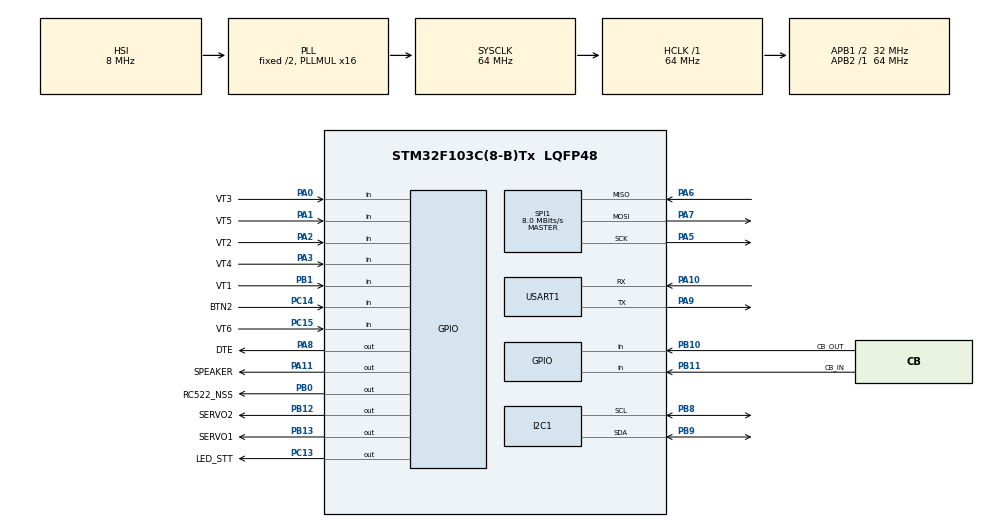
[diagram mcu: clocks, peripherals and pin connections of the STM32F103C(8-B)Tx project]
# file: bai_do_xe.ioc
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Mcu.Family=STM32F1
Mcu.Name=STM32F103C(8-B)Tx
Mcu.Package=LQFP48
NVIC.PriorityGroup=NVIC_PRIORITYGROUP_4
NVIC.USART1_IRQn=true\:0\:0\:false\:false\:true\:true\:true\:true
PA0-WKUP.GPIO_Label=VT3
PA0-WKUP.Signal=GPIO_Input
PA1.GPIO_Label=VT5
PA1.Signal=GPIO_Input
PA10.Mode=Asynchronous
PA10.Signal=USART1_RX
PA11.GPIO_Label=SPEAKER
PA11.Signal=GPIO_Output
PA13.Mode=Serial_Wire
PA13.Signal=SYS_JTMS-SWDIO
PA14.Mode=Serial_Wire
PA14.Signal=SYS_JTCK-SWCLK
PA2.GPIO_Label=VT2
PA2.Signal=GPIO_Input
PA3.GPIO_Label=VT4
PA3.Signal=GPIO_Input
PA5.Mode=Full_Duplex_Master
PA5.Signal=SPI1_SCK
PA6.Mode=Full_Duplex_Master
PA6.Signal=SPI1_MISO
PA7.Mode=Full_Duplex_Master
PA7.Signal=SPI1_MOSI
PA8.GPIO_Label=DTE
PA8.Signal=GPIO_Output
PA9.Mode=Asynchronous
PA9.Signal=USART1_TX
PB0.GPIO_Label=RC522_NSS
PB0.Signal=GPIO_Output
PB1.GPIO_Label=VT1
PB1.Signal=GPIO_Input
PB10.GPIO_Label=CB_OUT
PB10.Signal=GPIO_Input
PB11.GPIO_Label=CB_IN
PB11.Signal=GPIO_Input
PB12.GPIO_Label=SERVO2
PB12.GPIO_Speed=GPIO_SPEED_FREQ_HIGH
PB12.Signal=GPIO_Output
PB13.GPIO_Label=SERVO1
PB13.GPIO_Speed=GPIO_SPEED_FREQ_HIGH
PB13.Signal=GPIO_Output
PB8.Mode=I2C
PB8.Signal=I2C1_SCL
PB9.Mode=I2C
PB9.Signal=I2C1_SDA
PC13-TAMPER-RTC.GPIO_Label=LED_STT
PC13-TAMPER-RTC.Signal=GPIO_Output
PC14-OSC32_IN.GPIO_Label=BTN2
PC14-OSC32_IN.Signal=GPIO_Input
PC15-OSC32_OUT.GPIO_Label=VT6
PC15-OSC32_OUT.Signal=GPIO_Input
ProjectManager.HeapSize=0x200
ProjectManager.StackSize=0x400
ProjectManager.TargetToolchain=STM32CubeIDE
RCC.AHBFreq_Value=64000000
RCC.APB1CLKDivider=RCC_HCLK_DIV2
RCC.APB1Freq_Value=32000000
RCC.APB1TimFreq_Value=64000000
RCC.APB2Freq_Value=64000000
RCC.APB2TimFreq_Value=64000000
RCC.HCLKFreq_Value=64000000
RCC.PLLMUL=RCC_PLL_MUL16
RCC.SYSCLKFreq_VALUE=64000000
RCC.SYSCLKSource=RCC_SYSCLKSOURCE_PLLCLK
RCC.USBFreq_Value=64000000
SPI1.BaudRatePrescaler=SPI_BAUDRATEPRESCALER_8
SPI1.CalculateBaudRate=8.0 MBits/s
SPI1.Direction=SPI_DIRECTION_2LINES
SPI1.Mode=SPI_MODE_MASTER
SPI1.VirtualType=VM_MASTER
TIM2.Period=0xffff-1
TIM2.Prescaler=64-1
USART1.VirtualMode=VM_ASYNC
VP_TIM2_VS_ClockSourceINT.Mode=Internal
board=custom

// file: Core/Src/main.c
/* USER CODE BEGIN Header */
/**
  ******************************************************************************
  * @file           : main.c
  * @brief          : Main program body
  ******************************************************************************
  * @attention
  *
  * Copyright (c) 2022 STMicroelectronics.
  * All rights reserved.
  *
  * This software is licensed under terms that can be found in the LICENSE file
  * in the root directory of this software component.
  * If no LICENSE file comes with this software, it is provided AS-IS.
  *
  ******************************************************************************
  */
/* USER CODE END Header */
#include "main.h"
#include "i2c.h"
#include "spi.h"
#include "tim.h"
#include "usart.h"
#include "gpio.h"

/* USER CODE BEGIN Includes */
#include "string.h"
#include "lcd_i2c.h"
#include "my_lib.h"
#include "mfrc522.h"
#include <stdbool.h>
#include <stdio.h>
#include <stdlib.h>
#include <strings.h>
#include <stdarg.h>

#define SERVO1 0
#define SERVO2 1
//servo1
#define PUSH 2
#define WAIT 3
//servo2
#define PUSH2 WAIT
#define WAIT2 PUSH

#define _for for
#define delay HAL_Delay
uint8_t CardID[5];
char szBuff[16];

#define SERVO_RA SERVO1
#define SERVO_VAO SERVO2
#define OPEN 1
#define CLOSE 2
#define IN 1
#define OUT 2

#define read(port,pin) HAL_GPIO_ReadPin(port, pin)
void delay_us (uint32_t us);
void servo(unsigned char servo,unsigned char vi_tri);
void barie_vao(char stt);
void barie_ra(char stt);

char stt_in_out=0;
bool rfid_valid=0;

uint8_t hex_to_char(uint8_t data);
void char_to_hex(uint8_t data);
void StrTo();
void ToStr(uint32_t number);

/* USER CODE END Includes */

/* USER CODE BEGIN PV */
uint8_t 	k;
uint8_t 	i;
uint8_t 	j;
uint8_t 	b;
uint8_t 	q;
uint8_t 	en;
uint8_t 	ok;
uint8_t 	comand;
uint8_t		text1[63] = "STM32F103 Mifare RC522 RFID Card reader 13.56 MHz for KEIL HAL\r";
uint8_t		text2[9] = "Card ID: ";
uint8_t		end[1] = "\r";
uint8_t		txBuffer[8] = "";
uint8_t 	retstr[10];
uint8_t 	rxBuffer[8];
uint8_t		lastID[4];
uint8_t		memID[8] = "9C55A1B5";
uint8_t		str[MFRC522_MAX_LEN];
/* USER CODE END PV */

void SystemClock_Config(void);
/* USER CODE BEGIN PFP */
void servo(unsigned char servo,unsigned char vi_tri)
{
  unsigned int t1=0;
  //ve vi tri cho
  if(vi_tri==WAIT)
  for(t1=0;t1<10;t1++)
  {
    if(servo==SERVO1) HAL_GPIO_WritePin(SERVO1_GPIO_Port, SERVO1_Pin, 1);
    if(servo==SERVO2) HAL_GPIO_WritePin(SERVO2_GPIO_Port, SERVO2_Pin, 1);
    delay_us(2300);
    if(servo==SERVO1) HAL_GPIO_WritePin(SERVO1_GPIO_Port, SERVO1_Pin, 0);
    if(servo==SERVO2) HAL_GPIO_WritePin(SERVO2_GPIO_Port, SERVO2_Pin, 0);
    HAL_Delay(19);
  }

  //ve vi tri day vat
  else if(vi_tri==PUSH)
  for(t1=0;t1<10;t1++)
  {
	if(servo==SERVO1) HAL_GPIO_WritePin(SERVO1_GPIO_Port, SERVO1_Pin, 1);
	if(servo==SERVO2) HAL_GPIO_WritePin(SERVO2_GPIO_Port, SERVO2_Pin, 1);
	delay_us(1500);
    if(servo==SERVO1) HAL_GPIO_WritePin(SERVO1_GPIO_Port, SERVO1_Pin, 0);
    if(servo==SERVO2) HAL_GPIO_WritePin(SERVO2_GPIO_Port, SERVO2_Pin, 0);
    HAL_Delay(19);
  }

}

void barie_vao(char stt)
{
	if(stt==OPEN) servo(SERVO_VAO,PUSH);
	else servo(SERVO_VAO,WAIT);
}

void barie_ra(char stt)
{
	if(stt==OPEN) servo(SERVO_RA,WAIT);
	else servo(SERVO_RA,PUSH);
}

void delay_us (uint32_t us)
{
	HAL_TIM_Base_Start(&htim2);
    __HAL_TIM_SET_COUNTER(&htim2,0);  // set the counter value a 0
    while (__HAL_TIM_GET_COUNTER(&htim2) < us);  // wait for the counter to reach the us input in the parameter
}

char uart_data_rec[100];
char uart_char_rec=0;
int uart_count_char=0;
bool uart_stop_rec=false;
bool uart_done_frame=false;
unsigned int count_led=0;
char count_fix=0;

/*
 * Ngắt nhận dữ liệu từ máy tính gửi xuống
 */
void HAL_UART_RxCpltCallback(UART_HandleTypeDef *huart)
{
		//interrupt rs422
	  if(huart->Instance==huart1.Instance)
	  {
		  if(uart_char_rec!='\n' && uart_done_frame==false)
		  {
			  uart_data_rec[uart_count_char]=uart_char_rec;
			  uart_count_char++;
		  }
		  else
		  {
			  uart_done_frame=true;
		  }
	  }

	  HAL_UART_Receive_IT(&huart1,&uart_char_rec,1);
}

void rs485_print(const char *fmt, ...)
{
	static char buffer[256];
	unsigned int len=0;
	va_list args;
	va_start(args, fmt);
	vsnprintf(buffer, sizeof(buffer), fmt, args);
	va_end(args);
	len=strlen(buffer);
	HAL_GPIO_WritePin(DTE_GPIO_Port, DTE_Pin, 1);
	HAL_UART_Transmit(&huart1,buffer,len,100);
	HAL_GPIO_WritePin(DTE_GPIO_Port, DTE_Pin, 0);
}

/* USER CODE END PFP */

/* USER CODE BEGIN 0 */
char stt_servo_in=WAIT;
char stt_servo_out=WAIT;
char stt_servo_in_last=WAIT;
char stt_servo_out_last=WAIT;

/* USER CODE END 0 */

int main(void)
{

  /* MCU Configuration--------------------------------------------------------*/

  /* Reset of all peripherals, Initializes the Flash interface and the Systick. */
  HAL_Init();

  /* Configure the system clock */
  SystemClock_Config();

  /* Initialize all configured peripherals */
  MX_GPIO_Init();
  MX_I2C1_Init();
  MX_SPI1_Init();
  MX_USART1_UART_Init();
  MX_TIM2_Init();
  /* USER CODE BEGIN 2 */
  HAL_Delay(1000);

  MFRC522_Init();
  lcd_init(); HAL_Delay(100);;
  lcd_string(1, 4, "BAI DO XE");
  lcd_string(2, 4, "WELL COME");

  //HAL_TIM_Base_Start(&htim2);
  HAL_UART_Receive_IT(&huart1,&uart_char_rec,1);

  servo(SERVO1, WAIT);
  servo(SERVO2, WAIT2);

  /* USER CODE END 2 */

  /* Infinite loop */
  while (1)
  {

    /* USER CODE BEGIN 3 */
	  /*
	  	//IN
		if(!read(CB_IN_GPIO_Port,CB_IN_Pin)) stt_servo_in=PUSH;
		else stt_servo_in=WAIT;

		if(stt_servo_in_last==WAIT && stt_servo_in==PUSH)
		{
			servo(SERVO1,PUSH);
		}
		else if(stt_servo_in_last==PUSH && stt_servo_in==WAIT)
		{
			servo(SERVO1,WAIT);
		}
		stt_servo_in_last=stt_servo_in;

		//OUT
		if(!read(CB_OUT_GPIO_Port,CB_OUT_Pin))
		{
			stt_servo_out=PUSH2;
		}
		else
		{
			stt_servo_out=WAIT2;
		}
		*/

		//if(stt_servo_out_last==WAIT2 && stt_servo_out==PUSH2) servo(SERVO2,PUSH2);
		//else if(stt_servo_out_last==PUSH2 && stt_servo_out==WAIT2) servo(SERVO2,WAIT2);
		//stt_servo_out_last=stt_servo_out;

	if (!MFRC522_Request(PICC_REQIDL, str))
	{
		if (!MFRC522_Anticoll(str))
		{
			j = 0;
			q = 0;
			b = 9;
			en = 1;

			for (i=0; i<4; i++) if (lastID[i] != str[i]) j = 1;								// Repeat test
			//if (j && en)
			{
				q = 0;
				en = 0;
				for (i=0; i<4; i++) lastID[i] = str[i];
				for (i=0; i<4; i++)
				{
					char_to_hex(str[i]);
					txBuffer[b] = retstr[0];
					b++;
					txBuffer[b] = retstr[1];
					b++;
				}

				 //Gửi thông tin mã thẻ lên máy tính theo frame đã quy ước
				 //Frame format $ INOUT RFIDCODE VTVALUEE @ VT là vị trí xe còn trống
           	   	 //Ex $ IN RFID123456 VT9E @

				//gửi Header
				rs485_print("$");

				//gửi trạng thái xe vào/ra
				if(!HAL_GPIO_ReadPin(CB_IN_GPIO_Port, CB_IN_Pin))
				{
					stt_in_out=IN;
					rs485_print(" IN ");
				}
				else if(!HAL_GPIO_ReadPin(CB_OUT_GPIO_Port, CB_OUT_Pin))
				{
					rs485_print(" OUT ");
					stt_in_out=OUT;
				}

				rs485_print("RFID");

				//gửi mã thẻ RFID
				char *temp;
				for(int i=0;i<18;i++)
				{
					char txtTemp[2]="";
					if(txBuffer[i]!=0)
					{
						sprintf(txtTemp,"%x",txBuffer[i]);
						rs485_print(txtTemp);
					}
				}

				//gửi trạng thái 5 vị trí xe trong bãi
				rs485_print(" ");
				char viTriXe=0;
				if(!HAL_GPIO_ReadPin(VT1_GPIO_Port, VT1_Pin)) rs485_print("VT1ON"); else rs485_print("VT1OFF");//viTriXe|=0x01;
				if(!HAL_GPIO_ReadPin(VT2_GPIO_Port, VT2_Pin)) rs485_print("VT2ON"); else rs485_print("VT2OFF");//viTriXe|=0x02;
				if(!HAL_GPIO_ReadPin(VT3_GPIO_Port, VT3_Pin)) rs485_print("VT3ON"); else rs485_print("VT3OFF");//viTriXe|=0x04;
				if(!HAL_GPIO_ReadPin(VT4_GPIO_Port, VT4_Pin)) rs485_print("VT4ON"); else rs485_print("VT4OFF");//viTriXe|=0x08;
				if(!HAL_GPIO_ReadPin(VT5_GPIO_Port, VT5_Pin)) rs485_print("VT5ON"); else rs485_print("VT5OFF");//viTriXe|=0x10;

				rs485_print(" VTE\r\n",viTriXe);

				//đợi 1s sau mới đ�?c thẻ tiếp
				HAL_Delay(1000);
				count_fix=0;
				ok = 1;
				for (i=0; i<8; i++) if (txBuffer[9+i] != memID[i]) ok = 0;
			}
		}
	}//

	q++;
	if (!q)
	{
		en = 1;								// Delay against scan kode
		for (i=0; i<4; i++) lastID[i] = 0;	// Delay reading the same card 3s
	}

	//nháy led status
	if(count_led<10) count_led++;
	else
	{
		count_led=0;
		HAL_GPIO_TogglePin(LED_STT_GPIO_Port, LED_STT_Pin);

		rs485_print("$");
		if(!HAL_GPIO_ReadPin(VT1_GPIO_Port, VT1_Pin)) rs485_print("VT1ON"); else rs485_print("VT1OFF");//viTriXe|=0x01;
		if(!HAL_GPIO_ReadPin(VT2_GPIO_Port, VT2_Pin)) rs485_print("VT2ON"); else rs485_print("VT2OFF");//viTriXe|=0x02;
		if(!HAL_GPIO_ReadPin(VT3_GPIO_Port, VT3_Pin)) rs485_print("VT3ON"); else rs485_print("VT3OFF");//viTriXe|=0x04;
		if(!HAL_GPIO_ReadPin(VT4_GPIO_Port, VT4_Pin)) rs485_print("VT4ON"); else rs485_print("VT4OFF");//viTriXe|=0x08;
		if(!HAL_GPIO_ReadPin(VT5_GPIO_Port, VT5_Pin)) rs485_print("VT5ON"); else rs485_print("VT5OFF");//viTriXe|=0x10;
		rs485_print("E\r\n");
	}

	//đi�?u khiển barie khi thẻ đúng/sai
	/*
	 * Nếu xe đi vào
	 */
	if(stt_in_out==IN)
	{
		/*
		 *	Nếu máy tính trả v�? kết quả thẻ là hơp lệ, máy tính sẽ gửi ký tự T (true), nếu mã thẻ là sai máy tính sẽ gửi ký tự là F (false)
		 *	uart_char_rec là biến lưu ký tự máy tính gửi xuống
		 */
		if(uart_char_rec=='T')
		{
			lcd_clear();
			lcd_string(1, 4, "THE DUNG");
			servo(SERVO1,PUSH);
			servo(SERVO2,WAIT2);
			HAL_Delay(3000);
			servo(SERVO1,WAIT);
			servo(SERVO2,WAIT2);

		}
		else if(uart_char_rec=='F')
		{
			lcd_clear();
			lcd_string(1, 4, "THE SAI");
			servo(SERVO1,WAIT);
			servo(SERVO2,WAIT2);
			HAL_Delay(3000);
		}
		lcd_string(1, 4, "BAI DO XE");
		lcd_string(2, 4, "WELL COME");
		uart_char_rec=0;
	}
	/*
	 * Nếu xe đi ra
	 */
	else if(stt_in_out==OUT)
	{
		if(uart_char_rec=='T')
		{
			lcd_clear();
			lcd_string(1, 4, "THE DUNG");
			servo(SERVO1,WAIT);
			servo(SERVO2,PUSH2);
			HAL_Delay(3000);
			servo(SERVO1,WAIT);
			servo(SERVO2,WAIT2);
		}
		else if(uart_char_rec=='F')
		{
			lcd_clear();
			lcd_string(1, 4, "THE SAI");
			servo(SERVO1,WAIT);
			servo(SERVO2,WAIT2);
			HAL_Delay(3000);
		}
		lcd_string(1, 4, "BAI DO XE");
		lcd_string(2, 4, "WELL COME");
		uart_char_rec=0;
	}

    HAL_Delay(5);

    /* USER CODE END WHILE */

    /* USER CODE BEGIN 3 */
  }
  /* USER CODE END 3 */
}

void SystemClock_Config(void)
{
  RCC_OscInitTypeDef RCC_OscInitStruct = {0};
  RCC_ClkInitTypeDef RCC_ClkInitStruct = {0};

  /** Initializes the RCC Oscillators according to the specified parameters
  * in the RCC_OscInitTypeDef structure.
  */
  RCC_OscInitStruct.OscillatorType = RCC_OSCILLATORTYPE_HSI;
  RCC_OscInitStruct.HSIState = RCC_HSI_ON;
  RCC_OscInitStruct.HSICalibrationValue = RCC_HSICALIBRATION_DEFAULT;
  RCC_OscInitStruct.PLL.PLLState = RCC_PLL_ON;
  RCC_OscInitStruct.PLL.PLLSource = RCC_PLLSOURCE_HSI_DIV2;
  RCC_OscInitStruct.PLL.PLLMUL = RCC_PLL_MUL16;
  if (HAL_RCC_OscConfig(&RCC_OscInitStruct) != HAL_OK)
  {
    Error_Handler();
  }
  /** Initializes the CPU, AHB and APB buses clocks
  */
  RCC_ClkInitStruct.ClockType = RCC_CLOCKTYPE_HCLK|RCC_CLOCKTYPE_SYSCLK
                              |RCC_CLOCKTYPE_PCLK1|RCC_CLOCKTYPE_PCLK2;
  RCC_ClkInitStruct.SYSCLKSource = RCC_SYSCLKSOURCE_PLLCLK;
  RCC_ClkInitStruct.AHBCLKDivider = RCC_SYSCLK_DIV1;
  RCC_ClkInitStruct.APB1CLKDivider = RCC_HCLK_DIV2;
  RCC_ClkInitStruct.APB2CLKDivider = RCC_HCLK_DIV1;

  if (HAL_RCC_ClockConfig(&RCC_ClkInitStruct, FLASH_LATENCY_2) != HAL_OK)
  {
    Error_Handler();
  }
}

/* USER CODE BEGIN 4 */
// string hex to char number
uint8_t hex_to_char(uint8_t data)
{
	uint8_t number;

	if (rxBuffer[data] < 58) number = (rxBuffer[data]-48)*16; else number = (rxBuffer[data]-55)*16;
	data++;
	if (rxBuffer[data] < 58) number = number+(rxBuffer[data]-48); else number = number+(rxBuffer[data]-55);
	return number;
}

// char number to string hex (FF) (Only big letters!)
void char_to_hex(uint8_t data)
{
	uint8_t digits[] = {'0','1','2','3','4','5','6','7','8','9','A','B','C','D','E','F'};

	if (data < 16)
	{
		retstr[0] = '0';
		retstr[1] = digits[data];
	} else {
		retstr[0] = digits[(data & 0xF0)>>4];
		retstr[1] = digits[(data & 0x0F)];
	}
}

/* USER CODE END 4 */

void Error_Handler(void)
{
  __disable_irq();
  while (1)
  {
  }
}
